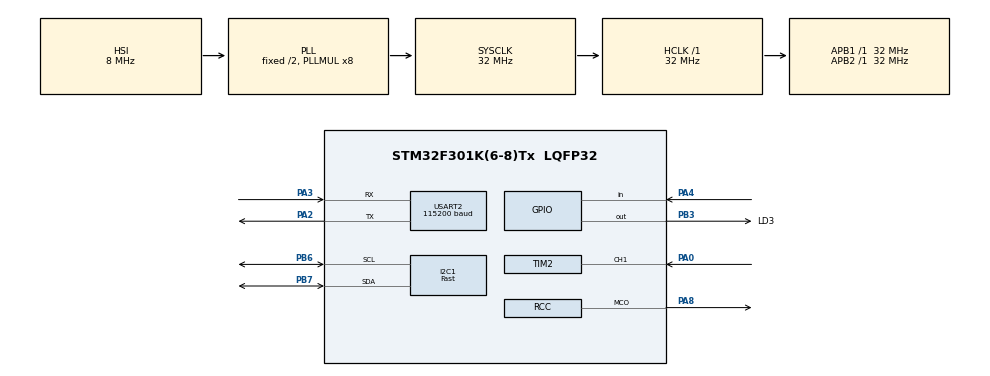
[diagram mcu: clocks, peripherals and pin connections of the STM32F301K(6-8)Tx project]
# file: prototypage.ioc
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I2C1.I2C_Speed_Mode=I2C_Fast
I2C1.Timing=0x0000020B
Mcu.Family=STM32F3
Mcu.Name=STM32F301K(6-8)Tx
Mcu.Package=LQFP32
NVIC.PriorityGroup=NVIC_PRIORITYGROUP_4
NVIC.TIM1_BRK_TIM15_IRQn=true\:0\:0\:false\:false\:true\:true\:true\:true
NVIC.TIM1_CC_IRQn=true\:0\:0\:false\:false\:true\:true\:true\:true
NVIC.TIM1_TRG_COM_TIM17_IRQn=true\:0\:0\:false\:false\:true\:true\:true\:true
NVIC.TIM1_UP_TIM16_IRQn=true\:0\:0\:false\:false\:true\:true\:true\:true
NVIC.TIM2_IRQn=true\:0\:0\:false\:false\:true\:true\:true\:true
PA0.Signal=S_TIM2_CH1_ETR
PA2.Mode=Asynchronous
PA2.Signal=USART2_TX
PA3.Mode=Asynchronous
PA3.Signal=USART2_RX
PA4.Signal=GPIO_Input
PA8.Mode=Clock-out
PA8.Signal=RCC_MCO
PB3.GPIO_Label=LD3
PB3.Signal=GPIO_Output
PB6.Mode=I2C
PB6.Signal=I2C1_SCL
PB7.Mode=I2C
PB7.Signal=I2C1_SDA
PF0-OSC_IN.Mode=HSE-External-Oscillator
PF0-OSC_IN.Signal=RCC_OSC_IN
PF1-OSC_OUT.Mode=HSE-External-Oscillator
PF1-OSC_OUT.Signal=RCC_OSC_OUT
ProjectManager.HeapSize=0x200
ProjectManager.StackSize=0x400
ProjectManager.TargetToolchain=STM32CubeIDE
RCC.AHBFreq_Value=32000000
RCC.APB1Freq_Value=32000000
RCC.APB1TimFreq_Value=32000000
RCC.APB2Freq_Value=32000000
RCC.APB2TimFreq_Value=32000000
RCC.CortexFreq_Value=32000000
RCC.HCLKFreq_Value=32000000
RCC.HSE_VALUE=8000000
RCC.HSI_VALUE=8000000
RCC.PLLMUL=RCC_PLL_MUL8
RCC.SYSCLKFreq_VALUE=32000000
RCC.SYSCLKSourceVirtual=RCC_SYSCLKSOURCE_PLLCLK
SH.S_TIM2_CH1_ETR.0=TIM2_CH1,Input_Capture1_from_TI1
TIM1.AutoReloadPreload=TIM_AUTORELOAD_PRELOAD_ENABLE
TIM1.Period=1725
TIM1.Prescaler=9999
TIM2.AutoReloadPreload=TIM_AUTORELOAD_PRELOAD_ENABLE
TIM2.Channel-Input_Capture1_from_TI1=TIM_CHANNEL_1
USART2.BaudRate=115200
USART2.VirtualMode-Asynchronous=VM_ASYNC
VP_TIM1_VS_ClockSourceINT.Mode=Internal
VP_TIM2_VS_ClockSourceINT.Mode=Internal
board=custom

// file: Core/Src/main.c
/* USER CODE BEGIN Header */
/**
  ******************************************************************************
  * @file           : main.c
  * @brief          : Main program body
  ******************************************************************************
  * @attention
  *
  * Copyright (c) 2024 STMicroelectronics.
  * All rights reserved.
  *
  * This software is licensed under terms that can be found in the LICENSE file
  * in the root directory of this software component.
  * If no LICENSE file comes with this software, it is provided AS-IS.
  *
  ******************************************************************************
  */
/* USER CODE END Header */
#include "main.h"

/* USER CODE BEGIN Includes */
#include <stdbool.h>
#include <stdlib.h>
#include <stdio.h>
#include "ssd1306_tests.h" // librairies
#include "ssd1306.h"       // écran
#include "draw.h"          // OLED

/* USER CODE END Includes */

I2C_HandleTypeDef hi2c1;

TIM_HandleTypeDef htim1;
TIM_HandleTypeDef htim2;

UART_HandleTypeDef huart2;

void SystemClock_Config(void);
static void MX_GPIO_Init(void);
static void MX_TIM2_Init(void);
static void MX_USART2_UART_Init(void);
static void MX_TIM1_Init(void);
static void MX_I2C1_Init(void);

/* USER CODE BEGIN 0 */
volatile uint32_t value = 0;       // initialisation de la valeur de la période
volatile uint32_t tab[2] = {0, 0}; // initialisation du tableau contenant les valeurs du temps acquises
                                   // en début et en fin de période
volatile bool first = true;        // initialisation de la variable permettant de savoir si on est au
                                   // début ou à la fin d'une période
volatile int cpt = 0;              // initialisation du compteur
volatile bool tim1_started = 0;    // initialisation de la variable permettant de savoir si le Timer 1
                                   // est démarré
volatile bool button_state = false;
volatile bool current_state = false;
volatile bool led_state = false;
volatile uint32_t frequency = 0;
char str[20];

/* USER CODE END 0 */

int main(void)
{

  /* MCU Configuration--------------------------------------------------------*/

  /* Reset of all peripherals, Initializes the Flash interface and the Systick. */
  HAL_Init();

  /* Configure the system clock */
  SystemClock_Config();

  /* Initialize all configured peripherals */
  MX_GPIO_Init();
  MX_TIM2_Init();
  MX_USART2_UART_Init();
  MX_TIM1_Init();
  MX_I2C1_Init();
  /* USER CODE BEGIN 2 */

  while(button_state == false)
  {
      if (HAL_GPIO_ReadPin(GPIOA, GPIO_PIN_4) == GPIO_PIN_RESET) {
    	  	  button_state = true;
          }
      }
  button_state = false;
  ssd1306_DrawLogo(); // Affichage démarrage du compteur

  /* USER CODE END 2 */

  /* Infinite loop */
  while (1)
  {

    /* USER CODE BEGIN 3 */

	  /*HAL_GPIO_WritePin(GPIOB, LD3_Pin , 1); //test entrée dans la boucle while
	  HAL_Delay(500);
	  HAL_GPIO_WritePin(GPIOB, LD3_Pin , 0);
	  HAL_Delay(500);*/
	  while(button_state == false)
	    {
		  HAL_TIM_IC_Start_IT(&htim2, TIM_CHANNEL_1);
		  	  sprintf(str, "%d", cpt); //affichage du compteur permanent
		  	  ssd1306_SetCursor(50, 25);
		  	  ssd1306_WriteString(str, Font_16x26, White);
		  	  ssd1306_UpdateScreen();

	            // Si le bouton est enfoncé, exécuter le reste du programme
	        if (HAL_GPIO_ReadPin(GPIOA, GPIO_PIN_4) == GPIO_PIN_RESET) {
	      	  	  button_state = true;
	            }
	        }
	  button_state = false;
	  cpt = 0;
	  ssd1306_Init();

  }

  /* USER CODE END 3 */
}

void SystemClock_Config(void)
{
  RCC_OscInitTypeDef RCC_OscInitStruct = {0};
  RCC_ClkInitTypeDef RCC_ClkInitStruct = {0};
  RCC_PeriphCLKInitTypeDef PeriphClkInit = {0};

  /** Initializes the RCC Oscillators according to the specified parameters
  * in the RCC_OscInitTypeDef structure.
  */
  RCC_OscInitStruct.OscillatorType = RCC_OSCILLATORTYPE_HSI;
  RCC_OscInitStruct.HSIState = RCC_HSI_ON;
  RCC_OscInitStruct.HSICalibrationValue = RCC_HSICALIBRATION_DEFAULT;
  RCC_OscInitStruct.PLL.PLLState = RCC_PLL_ON;
  RCC_OscInitStruct.PLL.PLLSource = RCC_PLLSOURCE_HSI;
  RCC_OscInitStruct.PLL.PLLMUL = RCC_PLL_MUL8;
  if (HAL_RCC_OscConfig(&RCC_OscInitStruct) != HAL_OK)
  {
    Error_Handler();
  }

  /** Initializes the CPU, AHB and APB buses clocks
  */
  RCC_ClkInitStruct.ClockType = RCC_CLOCKTYPE_HCLK|RCC_CLOCKTYPE_SYSCLK
                              |RCC_CLOCKTYPE_PCLK1|RCC_CLOCKTYPE_PCLK2;
  RCC_ClkInitStruct.SYSCLKSource = RCC_SYSCLKSOURCE_PLLCLK;
  RCC_ClkInitStruct.AHBCLKDivider = RCC_SYSCLK_DIV1;
  RCC_ClkInitStruct.APB1CLKDivider = RCC_HCLK_DIV1;
  RCC_ClkInitStruct.APB2CLKDivider = RCC_HCLK_DIV1;

  if (HAL_RCC_ClockConfig(&RCC_ClkInitStruct, FLASH_LATENCY_1) != HAL_OK)
  {
    Error_Handler();
  }
  PeriphClkInit.PeriphClockSelection = RCC_PERIPHCLK_I2C1|RCC_PERIPHCLK_TIM1;
  PeriphClkInit.I2c1ClockSelection = RCC_I2C1CLKSOURCE_HSI;
  PeriphClkInit.Tim1ClockSelection = RCC_TIM1CLK_HCLK;
  if (HAL_RCCEx_PeriphCLKConfig(&PeriphClkInit) != HAL_OK)
  {
    Error_Handler();
  }
  HAL_RCC_MCOConfig(RCC_MCO, RCC_MCO1SOURCE_SYSCLK, RCC_MCODIV_1);
}

static void MX_I2C1_Init(void)
{

  hi2c1.Instance = I2C1;
  hi2c1.Init.Timing = 0x0000020B;
  hi2c1.Init.OwnAddress1 = 0;
  hi2c1.Init.AddressingMode = I2C_ADDRESSINGMODE_7BIT;
  hi2c1.Init.DualAddressMode = I2C_DUALADDRESS_DISABLE;
  hi2c1.Init.OwnAddress2 = 0;
  hi2c1.Init.OwnAddress2Masks = I2C_OA2_NOMASK;
  hi2c1.Init.GeneralCallMode = I2C_GENERALCALL_DISABLE;
  hi2c1.Init.NoStretchMode = I2C_NOSTRETCH_DISABLE;
  if (HAL_I2C_Init(&hi2c1) != HAL_OK)
  {
    Error_Handler();
  }

  /** Configure Analogue filter
  */
  if (HAL_I2CEx_ConfigAnalogFilter(&hi2c1, I2C_ANALOGFILTER_ENABLE) != HAL_OK)
  {
    Error_Handler();
  }

  /** Configure Digital filter
  */
  if (HAL_I2CEx_ConfigDigitalFilter(&hi2c1, 0) != HAL_OK)
  {
    Error_Handler();
  }

}

static void MX_TIM1_Init(void)
{

  TIM_ClockConfigTypeDef sClockSourceConfig = {0};
  TIM_MasterConfigTypeDef sMasterConfig = {0};

  htim1.Instance = TIM1;
  htim1.Init.Prescaler = 9999;
  htim1.Init.CounterMode = TIM_COUNTERMODE_UP;
  htim1.Init.Period = 1725;
  htim1.Init.ClockDivision = TIM_CLOCKDIVISION_DIV1;
  htim1.Init.RepetitionCounter = 0;
  htim1.Init.AutoReloadPreload = TIM_AUTORELOAD_PRELOAD_ENABLE;
  if (HAL_TIM_Base_Init(&htim1) != HAL_OK)
  {
    Error_Handler();
  }
  sClockSourceConfig.ClockSource = TIM_CLOCKSOURCE_INTERNAL;
  if (HAL_TIM_ConfigClockSource(&htim1, &sClockSourceConfig) != HAL_OK)
  {
    Error_Handler();
  }
  sMasterConfig.MasterOutputTrigger = TIM_TRGO_RESET;
  sMasterConfig.MasterOutputTrigger2 = TIM_TRGO2_RESET;
  sMasterConfig.MasterSlaveMode = TIM_MASTERSLAVEMODE_DISABLE;
  if (HAL_TIMEx_MasterConfigSynchronization(&htim1, &sMasterConfig) != HAL_OK)
  {
    Error_Handler();
  }
  /* USER CODE BEGIN TIM1_Init 2 */
  HAL_TIM_IC_Init(&htim1);

  /* USER CODE END TIM1_Init 2 */

}

static void MX_TIM2_Init(void)
{

  TIM_ClockConfigTypeDef sClockSourceConfig = {0};
  TIM_MasterConfigTypeDef sMasterConfig = {0};
  TIM_IC_InitTypeDef sConfigIC = {0};

  htim2.Instance = TIM2;
  htim2.Init.Prescaler = 0;
  htim2.Init.CounterMode = TIM_COUNTERMODE_UP;
  htim2.Init.Period = 4294967295;
  htim2.Init.ClockDivision = TIM_CLOCKDIVISION_DIV1;
  htim2.Init.AutoReloadPreload = TIM_AUTORELOAD_PRELOAD_ENABLE;
  if (HAL_TIM_Base_Init(&htim2) != HAL_OK)
  {
    Error_Handler();
  }
  sClockSourceConfig.ClockSource = TIM_CLOCKSOURCE_INTERNAL;
  if (HAL_TIM_ConfigClockSource(&htim2, &sClockSourceConfig) != HAL_OK)
  {
    Error_Handler();
  }
  if (HAL_TIM_IC_Init(&htim2) != HAL_OK)
  {
    Error_Handler();
  }
  sMasterConfig.MasterOutputTrigger = TIM_TRGO_RESET;
  sMasterConfig.MasterSlaveMode = TIM_MASTERSLAVEMODE_DISABLE;
  if (HAL_TIMEx_MasterConfigSynchronization(&htim2, &sMasterConfig) != HAL_OK)
  {
    Error_Handler();
  }
  sConfigIC.ICPolarity = TIM_INPUTCHANNELPOLARITY_RISING;
  sConfigIC.ICSelection = TIM_ICSELECTION_DIRECTTI;
  sConfigIC.ICPrescaler = TIM_ICPSC_DIV1;
  sConfigIC.ICFilter = 0;
  if (HAL_TIM_IC_ConfigChannel(&htim2, &sConfigIC, TIM_CHANNEL_1) != HAL_OK)
  {
    Error_Handler();
  }
  /* USER CODE BEGIN TIM2_Init 2 */
  HAL_TIM_IC_Init(&htim2);
  HAL_TIM_Base_Start_IT(&htim2);

  /* USER CODE END TIM2_Init 2 */

}

static void MX_USART2_UART_Init(void)
{

  huart2.Instance = USART2;
  huart2.Init.BaudRate = 115200;
  huart2.Init.WordLength = UART_WORDLENGTH_8B;
  huart2.Init.StopBits = UART_STOPBITS_1;
  huart2.Init.Parity = UART_PARITY_NONE;
  huart2.Init.Mode = UART_MODE_TX_RX;
  huart2.Init.HwFlowCtl = UART_HWCONTROL_NONE;
  huart2.Init.OverSampling = UART_OVERSAMPLING_16;
  huart2.Init.OneBitSampling = UART_ONE_BIT_SAMPLE_DISABLE;
  huart2.AdvancedInit.AdvFeatureInit = UART_ADVFEATURE_NO_INIT;
  if (HAL_UART_Init(&huart2) != HAL_OK)
  {
    Error_Handler();
  }

}

static void MX_GPIO_Init(void)
{
  GPIO_InitTypeDef GPIO_InitStruct = {0};

  /* GPIO Ports Clock Enable */
  __HAL_RCC_GPIOF_CLK_ENABLE();
  __HAL_RCC_GPIOA_CLK_ENABLE();
  __HAL_RCC_GPIOB_CLK_ENABLE();

  /*Configure GPIO pin Output Level */
  HAL_GPIO_WritePin(LD3_GPIO_Port, LD3_Pin, GPIO_PIN_RESET);

  /*Configure GPIO pin : PA4 */
  GPIO_InitStruct.Pin = GPIO_PIN_4;
  GPIO_InitStruct.Mode = GPIO_MODE_INPUT;
  GPIO_InitStruct.Pull = GPIO_NOPULL;
  HAL_GPIO_Init(GPIOA, &GPIO_InitStruct);

  /*Configure GPIO pin : PA8 */
  GPIO_InitStruct.Pin = GPIO_PIN_8;
  GPIO_InitStruct.Mode = GPIO_MODE_AF_PP;
  GPIO_InitStruct.Pull = GPIO_NOPULL;
  GPIO_InitStruct.Speed = GPIO_SPEED_FREQ_LOW;
  GPIO_InitStruct.Alternate = GPIO_AF0_MCO;
  HAL_GPIO_Init(GPIOA, &GPIO_InitStruct);

  /*Configure GPIO pin : LD3_Pin */
  GPIO_InitStruct.Pin = LD3_Pin;
  GPIO_InitStruct.Mode = GPIO_MODE_OUTPUT_PP;
  GPIO_InitStruct.Pull = GPIO_NOPULL;
  GPIO_InitStruct.Speed = GPIO_SPEED_FREQ_LOW;
  HAL_GPIO_Init(LD3_GPIO_Port, &GPIO_InitStruct);

}

/* USER CODE BEGIN 4 */
void HAL_TIM_IC_CaptureCallback(TIM_HandleTypeDef* htim2)
{

	if (htim2->Instance == TIM2)
	{

		if (first == 1)
		{
			tab[0] = HAL_TIM_ReadCapturedValue(htim2, TIM_CHANNEL_1);
			first = 0;
		}
		else
		{
			tab[1] = HAL_TIM_ReadCapturedValue(htim2, TIM_CHANNEL_1);
			value = tab[1] - tab[0];
			frequency = HAL_RCC_GetPCLK1Freq()/value;
			first = 1;
			HAL_TIM_IC_Stop_IT(htim2, TIM_CHANNEL_1);
		}
		if (value>1100)
		{
			if (tim1_started == 0)
			{
				__HAL_TIM_SET_COUNTER(&htim1, 0);
				HAL_TIM_Base_Start_IT(&htim1);
				tim1_started = 1;
			}
		}
		else if (value<1100)
		{
			HAL_TIM_Base_Stop_IT(&htim1);
			tim1_started = 0;
		}
	}
}

void HAL_TIM_PeriodElapsedCallback(TIM_HandleTypeDef *htim)
{
  if (htim->Instance == TIM1)
  {
	  HAL_GPIO_WritePin(GPIOB, LD3_Pin , led_state);
	  led_state = (led_state == 0) ? 1 : 0;
		  cpt++;

  }
}

bool read_button() { // Lire l'état de la broche du bouton poussoir
    GPIO_PinState button_state = HAL_GPIO_ReadPin(GPIOA, GPIO_PIN_4);

    // Convertir l'état de la broche en un booléen (true pour enfoncé, false pour relâché)
    if (button_state == GPIO_PIN_SET) {
        return true; // Bouton enfoncé
    } else {
        return false; // Bouton relâché
    }
}

/* USER CODE END 4 */

void Error_Handler(void)
{
  __disable_irq();
  while (1)
  {
  }
}
